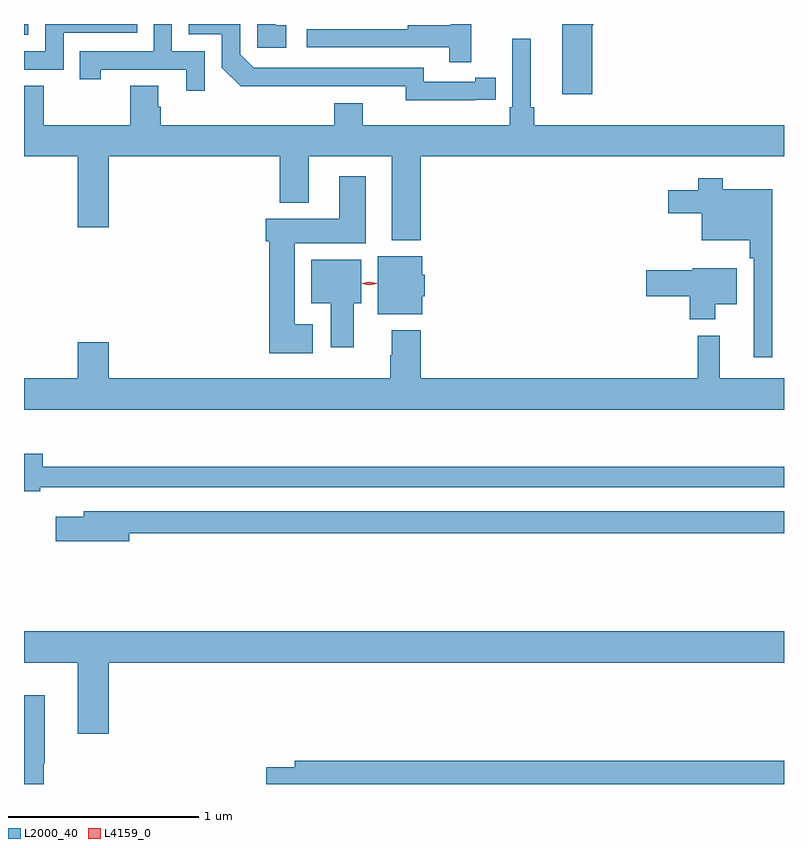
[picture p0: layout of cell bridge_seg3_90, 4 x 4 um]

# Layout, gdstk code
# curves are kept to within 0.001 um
import gdstk
lib = gdstk.Library(unit=1e-6, precision=1e-09)
def R(c, l, rs):  # rectangles x0, y0, x1, y1
    for r in rs: c.add(gdstk.rectangle(r[:2], r[2:], *l))
def P(c, l, *ps):  # polygons
    for p in ps: c.add(gdstk.Polygon(p, *l))
L2000_40 = (2000, 40)
L4159_0 = (4159, 0)

bridge_seg3_90 = lib.new_cell('bridge_seg3_90')
R(bridge_seg3_90, L2000_40, [(416.474,722.868,416.496,722.925)])
P(bridge_seg3_90, L2000_40, [(419.465,722.919),(419.47,722.919),(419.47,722.925),(419.306,722.925),(419.306,722.556),(419.465,722.556)],
  [(418.85,722.526),(418.958,722.526),(418.958,722.642),(418.85,722.642),(418.85,722.622),(418.578,722.622),(418.578,722.694),(417.684,722.694),(417.612,722.766),(417.612,722.925),(417.342,722.925),(417.342,722.871),(417.516,722.871),(417.516,722.694),(417.614,722.597),(418.482,722.598),(418.482,722.525)],
  [(418.829,722.925),(418.719,722.925),(418.719,722.918),(418.495,722.918),(418.495,722.898),(417.963,722.898),(417.963,722.802),(418.711,722.802),(418.711,722.724),(418.829,722.724)],
  [(417.853,722.919),(417.8,722.919),(417.8,722.925),(417.702,722.925),(417.702,722.799),(417.853,722.799)],
  [(417.426,722.781),(417.252,722.781),(417.252,722.925),(417.156,722.925),(417.156,722.781),(416.767,722.781),(416.767,722.634),(416.878,722.634),(416.878,722.685),(417.329,722.685),(417.329,722.574),(417.426,722.574)],
  [(416.682,722.88),(417.071,722.88),(417.071,722.925),(416.586,722.925),(416.586,722.781),(416.474,722.781),(416.474,722.685),(416.682,722.685)],
  [(418.562,722.228),(420.474,722.228),(420.474,722.392),(419.159,722.392),(419.159,722.488),(419.14,722.488),(419.14,722.848),(419.043,722.848),(419.043,722.488),(419.03,722.488),(419.03,722.392),(418.258,722.392),(418.258,722.509),(418.106,722.509),(418.106,722.392),(417.194,722.392),(417.194,722.49),(417.181,722.49),(417.181,722.6),(417.034,722.6),(417.034,722.392),(416.577,722.392),(416.577,722.6),(416.474,722.6),(416.474,722.228),(416.756,722.228),(416.756,721.854),(416.92,721.854),(416.92,722.228),(417.821,722.228),(417.821,721.985),(417.973,721.985),(417.973,722.228),(418.409,722.228),(418.409,721.787),(418.562,721.787)],
  [(417.994,721.345),(417.898,721.345),(417.898,721.772),(418.273,721.772),(418.273,722.125),(418.133,722.125),(418.133,721.9),(417.746,721.9),(417.746,721.782),(417.764,721.782),(417.764,721.193),(417.994,721.193)],
  [(420.412,722.056),(420.151,722.056),(420.151,722.113),(420.022,722.113),(420.022,722.05),(419.865,722.05),(419.865,721.928),(420.041,721.928),(420.041,721.787),(420.295,721.787),(420.295,721.691),(420.315,721.691),(420.315,721.17),(420.412,721.17)],
  [(418.57,721.491),(418.582,721.491),(418.582,721.605),(418.57,721.605),(418.57,721.702),(418.337,721.702),(418.337,721.397),(418.57,721.397)],
  [(418.21,721.454),(418.249,721.454),(418.249,721.684),(417.986,721.684),(417.986,721.454),(418.088,721.454),(418.088,721.224),(418.21,721.224)],
  [(420.112,721.451),(420.226,721.451),(420.226,721.639),(419.994,721.639),(419.994,721.629),(419.748,721.629),(419.748,721.492),(419.978,721.492),(419.978,721.37),(420.112,721.37)],
  [(420.474,721.06),(420.137,721.06),(420.137,721.285),(420.019,721.285),(420.019,721.06),(418.562,721.06),(418.562,721.312),(418.409,721.312),(418.409,721.181),(418.402,721.181),(418.402,721.06),(416.92,721.06),(416.92,721.249),(416.756,721.249),(416.756,721.06),(416.474,721.06),(416.474,720.896),(420.474,720.896)],
  [(416.56,720.486),(420.474,720.486),(420.474,720.595),(416.573,720.595),(416.573,720.663),(416.474,720.663),(416.474,720.466),(416.56,720.466)],
  [(417.028,720.244),(420.474,720.244),(420.474,720.36),(416.789,720.36),(416.789,720.331),(416.64,720.331),(416.64,720.202),(417.028,720.202)],
  [(416.92,719.564),(420.474,719.564),(420.474,719.728),(416.474,719.728),(416.474,719.564),(416.756,719.564),(416.756,719.19),(416.92,719.19)],
  [(416.579,719.034),(416.584,719.034),(416.584,719.392),(416.474,719.392),(416.474,718.925),(416.579,718.925)],
  [(420.474,719.048),(417.899,719.048),(417.899,719.012),(417.75,719.012),(417.75,718.925),(420.474,718.925)])
P(bridge_seg3_90, L4159_0, [(418.292,721.549),(418.255,721.559),(418.255,721.559),(418.255,721.56),(418.292,721.569),(418.33,721.56),(418.33,721.559),(418.33,721.559)])

lib.write_gds('bridge_seg3_90.gds')
